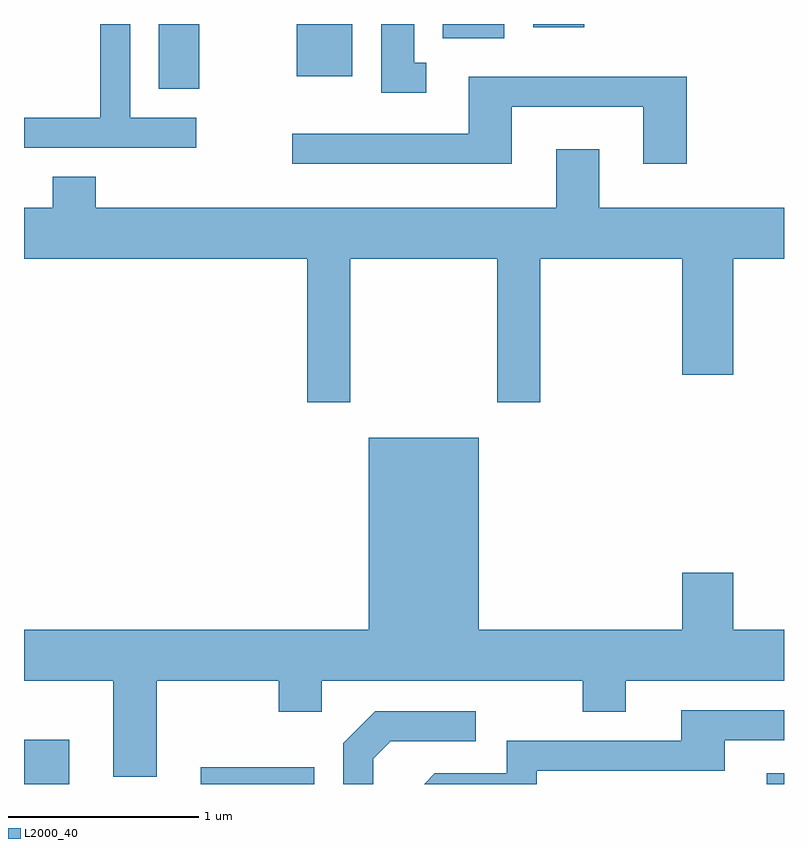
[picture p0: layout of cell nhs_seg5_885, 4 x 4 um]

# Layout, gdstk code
import gdstk
lib = gdstk.Library(unit=1e-6, precision=1e-09)
def R(c, l, rs):  # rectangles x0, y0, x1, y1
    for r in rs: c.add(gdstk.rectangle(r[:2], r[2:], *l))
def P(c, l, *ps):  # polygons
    for p in ps: c.add(gdstk.Polygon(p, *l))
L2000_40 = (2000, 40)

nhs_seg5_885 = lib.new_cell('nhs_seg5_885')
R(nhs_seg5_885, L2000_40, [(211.611,1414.072,211.849,1414.304), (212.541,1414.072,213.139,1414.159), (215.521,1414.072,215.611,1414.129), (212.321,1417.731,212.534,1418.072), (213.046,1417.796,213.339,1418.072), (213.816,1417.996,214.139,1418.072), (214.291,1418.056,214.559,1418.072)])
P(nhs_seg5_885, L2000_40, [(212.518,1417.579),(212.169,1417.579),(212.169,1418.072),(212.011,1418.072),(212.011,1417.579),(211.611,1417.579),(211.611,1417.421),(212.518,1417.421)],
  [(213.728,1417.869),(213.664,1417.869),(213.664,1418.072),(213.491,1418.072),(213.491,1417.711),(213.728,1417.711)],
  [(214.179,1417.636),(214.871,1417.636),(214.871,1417.336),(215.099,1417.336),(215.099,1417.794),(213.951,1417.794),(213.951,1417.494),(213.023,1417.494),(213.023,1417.336),(214.179,1417.336)],
  [(213.329,1416.836),(214.101,1416.836),(214.101,1416.081),(214.329,1416.081),(214.329,1416.836),(215.076,1416.836),(215.076,1416.226),(215.344,1416.226),(215.344,1416.836),(215.611,1416.836),(215.611,1417.104),(214.639,1417.104),(214.639,1417.414),(214.411,1417.414),(214.411,1417.104),(211.989,1417.104),(211.989,1417.269),(211.761,1417.269),(211.761,1417.104),(211.611,1417.104),(211.611,1416.836),(213.101,1416.836),(213.101,1416.081),(213.329,1416.081)],
  [(212.309,1414.616),(212.951,1414.616),(212.951,1414.451),(213.179,1414.451),(213.179,1414.616),(214.551,1414.616),(214.551,1414.451),(214.779,1414.451),(214.779,1414.616),(215.611,1414.616),(215.611,1414.884),(215.344,1414.884),(215.344,1415.184),(215.076,1415.184),(215.076,1414.884),(214.004,1414.884),(214.004,1415.894),(213.426,1415.894),(213.426,1414.884),(211.611,1414.884),(211.611,1414.616),(212.081,1414.616),(212.081,1414.111),(212.309,1414.111)],
  [(214.309,1414.141),(215.299,1414.141),(215.299,1414.301),(215.611,1414.301),(215.611,1414.459),(215.071,1414.459),(215.071,1414.299),(214.151,1414.299),(214.151,1414.129),(213.774,1414.129),(213.717,1414.072),(214.309,1414.072)],
  [(213.449,1414.204),(213.542,1414.296),(213.988,1414.296),(213.988,1414.454),(213.459,1414.454),(213.291,1414.287),(213.291,1414.072),(213.449,1414.072)])

lib.write_gds('nhs_seg5_885.gds')
